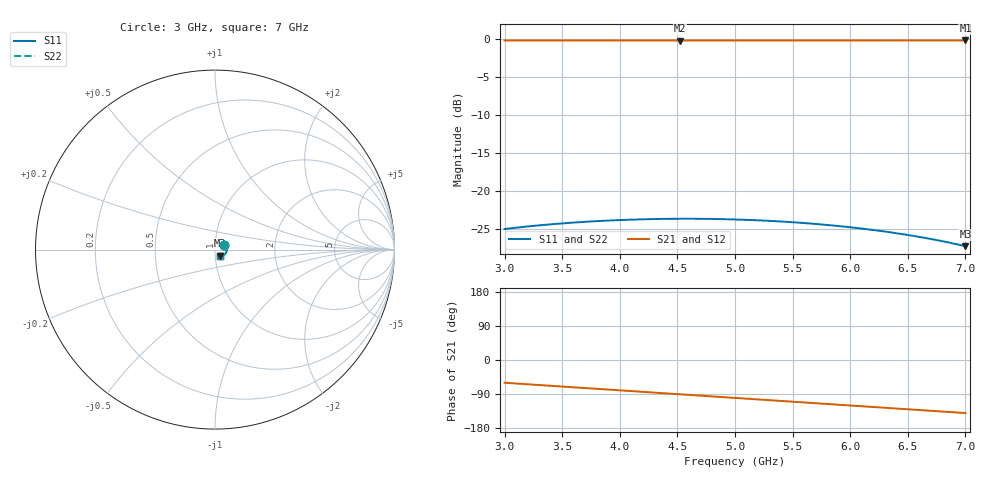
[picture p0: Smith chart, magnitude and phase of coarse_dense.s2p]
! yapnr rf: line-osh-m-w0p40-l10-m-nom, footprint re-simulated (optimization grid)
! spec sha256 5298439427e426e1331edb8f8734f1a456c494e8c212ef0456b3fbcedb503f06
! 2 ports renormalized to 50 ohm, e^(+jwt) convention
# GHz S RI R 50
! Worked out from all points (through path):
!   161 points, 3 GHz to 7 GHz, reference 50 ohm
!   highest |S21| = -0.16 dB at 7 GHz (marker M1); lowest = -0.2 dB at 4.525 GHz (marker M2)
!   group delay of S21, straight-line fit = 55.5 ps
!   lowest |S11| = -27.2 dB at 7 GHz (marker M3), VSWR 1.09, Z = 52.8 - j3.5 ohm
!   |S11| at or under -10 dB: start of sweep to end of sweep
!   |S22| runs from -27.2 to -23.6 dB; largest |S21 - S12| = 0
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3  0.0493 0.0273  0.4896 -0.8501  0.4896 -0.8501  0.0493 0.0273
3.175  0.0526 0.0252  0.4368 -0.8783  0.4368 -0.8783  0.0526 0.0252
3.35  0.0556 0.0226  0.3824 -0.9032  0.3824 -0.9032  0.0556 0.0226
3.525  0.0583 0.0198  0.3266 -0.9248  0.3266 -0.9248  0.0583 0.0198
3.675  0.0603 0.017  0.2778 -0.9405  0.2778 -0.9405  0.0603 0.017
3.85  0.0623 0.0136  0.22 -0.9556  0.22 -0.9556  0.0623 0.0136
4.025  0.0639 0.01  0.1613 -0.9672  0.1613 -0.9672  0.0639 0.01
4.2  0.065 0.00624  0.1021 -0.9752  0.1021 -0.9752  0.065 0.00624
4.35  0.0656 0.00291  0.051 -0.9792  0.051 -0.9792  0.0656 0.00291
4.525  0.0658 -0.00103  -0.00884 -0.9805  -0.00884 -0.9805  0.0658 -0.00103
4.75  0.0655 -0.00609  -0.0856 -0.9768  -0.0856 -0.9768  0.0655 -0.00609
5  0.0641 -0.0116  -0.1704 -0.9656  -0.1704 -0.9656  0.0641 -0.0116
5.15  0.0628 -0.0147  -0.2206 -0.9555  -0.2206 -0.9555  0.0628 -0.0147
5.325  0.061 -0.0182  -0.2785 -0.9403  -0.2785 -0.9403  0.061 -0.0182
5.5  0.0587 -0.0214  -0.3354 -0.9216  -0.3354 -0.9216  0.0587 -0.0214
5.675  0.056 -0.0244  -0.3911 -0.8995  -0.3911 -0.8995  0.056 -0.0244
6  0.0502 -0.0289  -0.4905 -0.8496  -0.4905 -0.8496  0.0502 -0.0289
6.175  0.0467 -0.0307  -0.5416 -0.8181  -0.5416 -0.8181  0.0467 -0.0307
6.35  0.0429 -0.0321  -0.5907 -0.7836  -0.5907 -0.7836  0.0429 -0.0321
6.675  0.0356 -0.0334  -0.6759 -0.7118  -0.6759 -0.7118  0.0356 -0.0334
6.85  0.0316 -0.0334  -0.7183 -0.6692  -0.7183 -0.6692  0.0316 -0.0334
7  0.0282 -0.033  -0.7525 -0.6306  -0.7525 -0.6306  0.0282 -0.033
